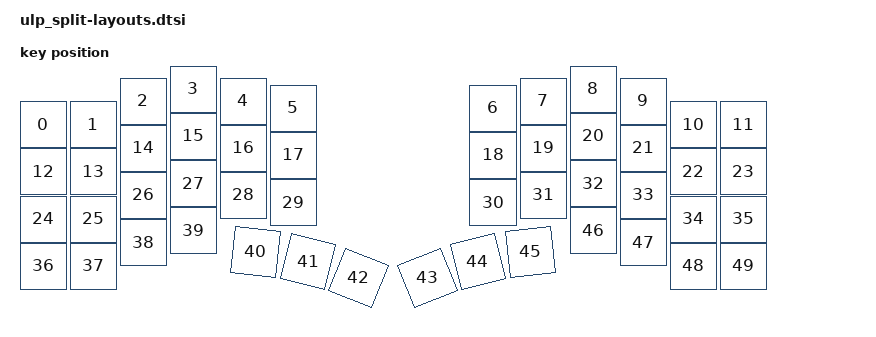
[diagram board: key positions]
/*
 * Key positions generated from the ergogen points (pcb/zmk_physical_layout.py), 1u = 18 mm.
 * Order: top, home, bottom row (12 each, left to right), then
 * left lower x4, left thumbs near/mid/far, right thumbs far/mid/near, right lower x4.
 */

#include <physical_layouts.dtsi>

/ {
    ulp_split_layout: ulp_split_layout {
        compatible = "zmk,physical-layout";
        display-name = "Default";

        keys  //                     w     h     x     y    rot    rx    ry
            = <&key_physical_attrs   100   100     0    71     0    50   121>
            , <&key_physical_attrs   100   100   100    71     0   150   121>
            , <&key_physical_attrs   100   100   200    24     0   250    74>
            , <&key_physical_attrs   100   100   300     0     0   350    50>
            , <&key_physical_attrs   100   100   400    24     0   450    74>
            , <&key_physical_attrs   100   100   500    38     0   550    88>
            , <&key_physical_attrs   100   100   900    38     0   950    88>
            , <&key_physical_attrs   100   100  1000    24     0  1050    74>
            , <&key_physical_attrs   100   100  1100     0     0  1150    50>
            , <&key_physical_attrs   100   100  1200    24     0  1250    74>
            , <&key_physical_attrs   100   100  1300    71     0  1350   121>
            , <&key_physical_attrs   100   100  1400    71     0  1450   121>
            , <&key_physical_attrs   100   100     0   165     0    50   215>
            , <&key_physical_attrs   100   100   100   165     0   150   215>
            , <&key_physical_attrs   100   100   200   118     0   250   168>
            , <&key_physical_attrs   100   100   300    94     0   350   144>
            , <&key_physical_attrs   100   100   400   118     0   450   168>
            , <&key_physical_attrs   100   100   500   132     0   550   182>
            , <&key_physical_attrs   100   100   900   132     0   950   182>
            , <&key_physical_attrs   100   100  1000   118     0  1050   168>
            , <&key_physical_attrs   100   100  1100    94     0  1150   144>
            , <&key_physical_attrs   100   100  1200   118     0  1250   168>
            , <&key_physical_attrs   100   100  1300   165     0  1350   215>
            , <&key_physical_attrs   100   100  1400   165     0  1450   215>
            , <&key_physical_attrs   100   100     0   260     0    50   310>
            , <&key_physical_attrs   100   100   100   260     0   150   310>
            , <&key_physical_attrs   100   100   200   212     0   250   262>
            , <&key_physical_attrs   100   100   300   189     0   350   239>
            , <&key_physical_attrs   100   100   400   212     0   450   262>
            , <&key_physical_attrs   100   100   500   227     0   550   277>
            , <&key_physical_attrs   100   100   900   227     0   950   277>
            , <&key_physical_attrs   100   100  1000   212     0  1050   262>
            , <&key_physical_attrs   100   100  1100   189     0  1150   239>
            , <&key_physical_attrs   100   100  1200   212     0  1250   262>
            , <&key_physical_attrs   100   100  1300   260     0  1350   310>
            , <&key_physical_attrs   100   100  1400   260     0  1450   310>
            , <&key_physical_attrs   100   100     0   354     0    50   404>
            , <&key_physical_attrs   100   100   100   354     0   150   404>
            , <&key_physical_attrs   100   100   200   307     0   250   357>
            , <&key_physical_attrs   100   100   300   283     0   350   333>
            , <&key_physical_attrs   100   100   425   326   600   475   376>
            , <&key_physical_attrs   100   100   530   345  1400   580   395>
            , <&key_physical_attrs   100   100   631   378  2200   681   428>
            , <&key_physical_attrs   100   100   769   378 (-2200)   819   428>
            , <&key_physical_attrs   100   100   870   345 (-1400)   920   395>
            , <&key_physical_attrs   100   100   975   326  (-600)  1025   376>
            , <&key_physical_attrs   100   100  1100   283     0  1150   333>
            , <&key_physical_attrs   100   100  1200   307     0  1250   357>
            , <&key_physical_attrs   100   100  1300   354     0  1350   404>
            , <&key_physical_attrs   100   100  1400   354     0  1450   404>
            ;
    };
};
